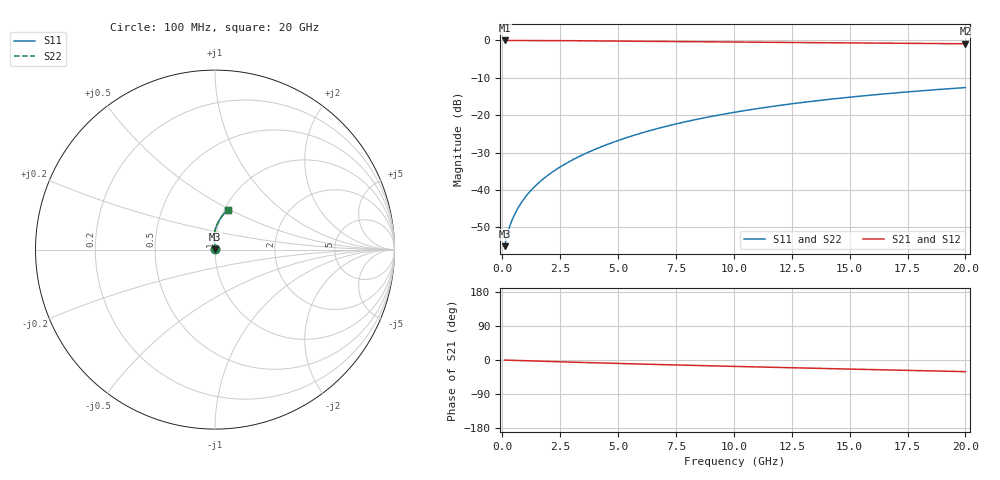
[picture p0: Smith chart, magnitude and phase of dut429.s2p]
! Touchstone file exported from HFSS 2024.1.0
!  File:  C:/UserFiles/LocalFiles/RDL_TSV_Batchsim/temp_RDL_top_429_1779676319.aedt
!  Generated:  10:34:08 AM May 25, 2026
!  Design:  RDL_top
!  Project:  temp_RDL_top_429_1779676319
!  Setup:  Setup1
!  Solution:  Sweep
! Variables:
!  dtsv = 10.80580581um
!  hbump = 3um
!  htsv = 77.13um
!  ldown = 100um
!  lrdl = 465.65um
!  p = 40
!  p1 = 50.82um
!  rhole = 1um
!  t = 450um
!  tdown = 3.915915916um
!  trdl = 4.4um
!  wdown = 15.38538539um
!  wrdl = 29.96um
# GHz S MA R 50.000000
! Terminal data exported
! Port[1] = Box2_T1
! Port[2] = Box2_T2
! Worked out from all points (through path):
!   200 points, 100 MHz to 20 GHz, reference 50 ohm
!   highest |S21| = -0.01 dB at 100 MHz (marker M1); lowest = -0.9 dB at 20 GHz (marker M2)
!   group delay of S21, straight-line fit = 4.19 ps
!   lowest |S11| = -55.0 dB at 100 MHz (marker M3), VSWR 1.00, Z = 50.1 + j0.0966 ohm
!   |S11| at or under -10 dB: start of sweep to end of sweep
!   |S22| runs from -55.0 to -12.6 dB; largest |S21 - S12| = 5.2e-15
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0.1  0.001772 33.0  0.9985 -0.2  0.9985 -0.2  0.001772 33.0
! Gamma 0 0 0 0
! Port Impedance 50 0 50 0
0.2  0.002441 48.6  0.9983 -0.4  0.9983 -0.4  0.002441 48.6
0.3  0.003131 56.8  0.9982 -0.6  0.9982 -0.6  0.003132 56.8
0.4  0.00381 62.2  0.998 -0.8  0.998 -0.8  0.003811 62.2
0.5  0.00449 66.4  0.9979 -1.0  0.9979 -1.0  0.00449 66.4
0.6  0.005179 69.8  0.9977 -1.2  0.9977 -1.2  0.005179 69.8
0.8  0.006594 74.9  0.9974 -1.6  0.9974 -1.6  0.006595 74.9
1.1  0.008808 80.1  0.9969 -2.1  0.9969 -2.1  0.008808 80.1
1.6  0.0127 85.5  0.9956 -3.1  0.9956 -3.1  0.0127 85.4
2.1  0.01684 88.9  0.9941 -4.0  0.9941 -4.0  0.01684 88.8
2.7  0.02213 91.6  0.9917 -5.1  0.9917 -5.1  0.02213 91.6
3.5  0.02978 93.9  0.9879 -6.5  0.9879 -6.5  0.02977 93.8
4.2  0.03701 94.9  0.9843 -7.8  0.9843 -7.8  0.037 94.9
5  0.04585 95.4  0.9797 -9.1  0.9797 -9.1  0.04582 95.3
5.9  0.05641 95.2  0.9745 -10.6  0.9745 -10.6  0.05637 95.2
6.8  0.06748 94.5  0.9691 -12.0  0.9691 -12.0  0.06743 94.4
8.4  0.088 92.4  0.9598 -14.5  0.9598 -14.5  0.08793 92.4
10.1  0.1104 89.6  0.9504 -17.0  0.9504 -17.0  0.1103 89.5
11.7  0.1315 86.7  0.942 -19.3  0.942 -19.3  0.1314 86.6
13.4  0.1537 83.5  0.9335 -21.7  0.9335 -21.7  0.1535 83.5
16.7  0.1952 77.5  0.9177 -26.3  0.9177 -26.3  0.195 77.4
20  0.234 71.8  0.9024 -30.7  0.9024 -30.7  0.2338 71.8
